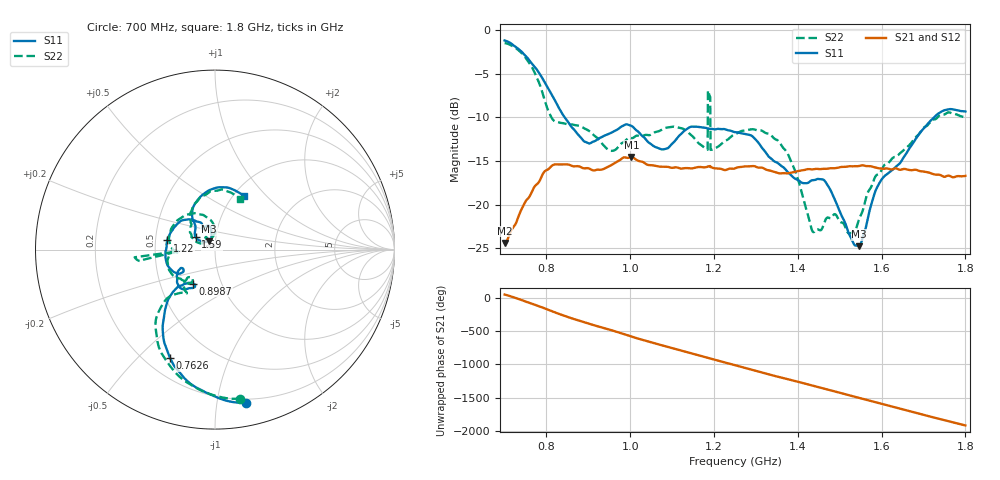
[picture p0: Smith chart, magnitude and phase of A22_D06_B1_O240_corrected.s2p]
! Created with skrf 1.9.0 (http://scikit-rf.org).
# Hz S RI R 50.0
!freq ReS11 ImS11 ReS21 ImS21 ReS12 ImS12 ReS22 ImS22
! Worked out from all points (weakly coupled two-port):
!   1601 points, 700 MHz to 1.8 GHz, reference 50 ohm
!   highest |S21| = -14.55 dB at 1.002 GHz (marker M1); lowest = -24.4 dB at 700.7 MHz (marker M2)
!   lowest |S11| = -24.8 dB at 1.546 GHz (marker M3), VSWR 1.12, Z = 46.6 + j4.4 ohm
!   |S11| at or under -10 dB: 843.4 MHz to 1.725 GHz (881.7 MHz wide, 68.7 % of centre)
!   |S22| runs from -23.3 to -1.5 dB; largest |S21 - S12| = 0.0035
!   S11 on the Smith chart (normalised r, x): 700 MHz: 0.17, -1.21; 762.6 MHz: 0.30, -0.63; 898.7 MHz: 0.73, -0.29; 1.22 GHz: 0.58, +0.06; 1.59 GHz: 0.80, +0.11; 1.8 GHz: 1.12, +0.76
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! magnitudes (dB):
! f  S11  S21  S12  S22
! 700 MHz  -1.2  -24.4  -24.2  -1.5
! 700.7 MHz  -1.2  -24.4  -24.1  -1.5
! 762.6 MHz  -3.7  -18.8  -18.8  -4.0
! 815.5 MHz  -7.7  -15.5  -15.5  -10.3
! 883.6 MHz  -12.4  -15.7  -15.6  -11.1
! 898.7 MHz  -12.9  -15.8  -15.9  -11.5
! 953.7 MHz  -11.8  -15.5  -15.5  -13.8
! 1.002 GHz  -11.0  -14.6  -14.7  -12.4
! 1.067 GHz  -13.5  -15.6  -15.6  -11.6
! 1.179 GHz  -11.2  -15.7  -15.7  -13.6
! 1.191 GHz  -11.3  -15.6  -15.6  -7.7
! 1.197 GHz  -11.3  -15.8  -15.7  -13.7
! 1.22 GHz  -11.3  -16.0  -16.0  -12.9
! 1.25 GHz  -11.7  -15.8  -15.8  -11.9
! 1.356 GHz  -15.4  -16.4  -16.3  -12.8
! 1.434 GHz  -17.2  -16.0  -15.9  -22.9
! 1.467 GHz  -17.5  -15.9  -15.9  -21.6
! 1.546 GHz  -24.8  -15.6  -15.5  -21.7
! 1.59 GHz  -17.9  -15.8  -15.8  -16.5
! 1.617 GHz  -16.3  -15.9  -15.9  -15.2
! 1.733 GHz  -9.7  -16.6  -16.6  -10.1
! 1.8 GHz  -9.3  -16.7  -16.7  -10.0
